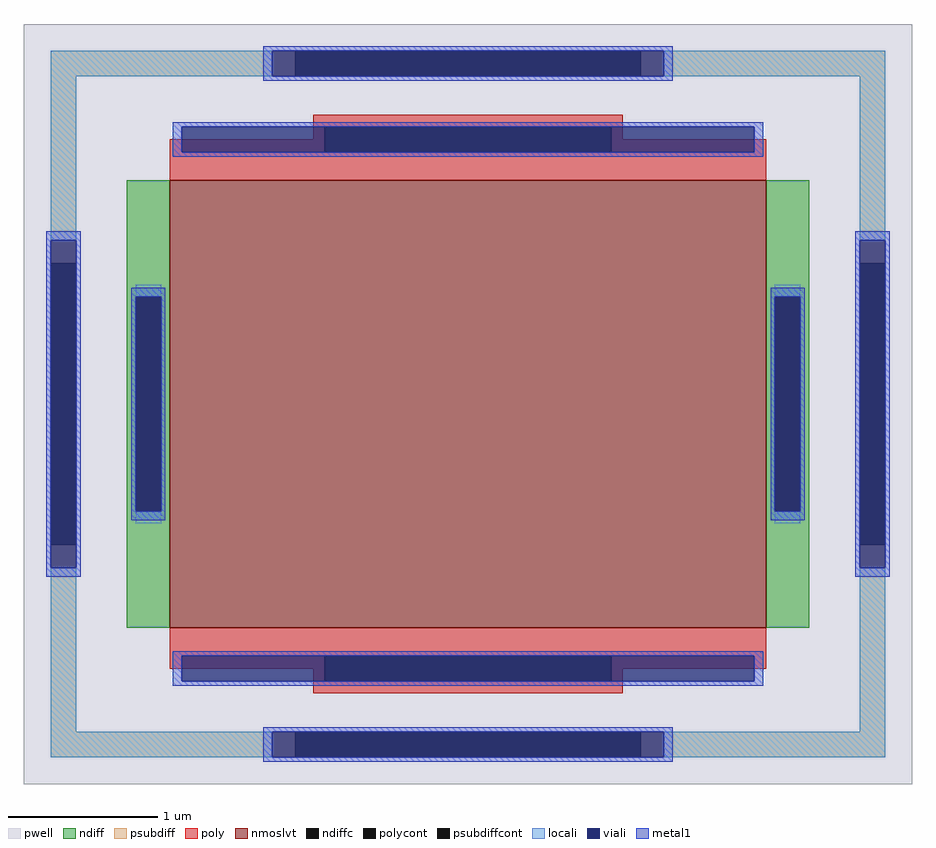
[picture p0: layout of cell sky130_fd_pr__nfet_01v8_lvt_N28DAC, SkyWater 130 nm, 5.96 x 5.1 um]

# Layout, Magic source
magic
tech sky130A
magscale 1 2
<< pwell >>
rect -596 -510 596 510
<< nmoslvt >>
rect -400 -300 400 300
<< ndiff >>
rect -458 144 -400 300
rect -458 -144 -446 144
rect -412 -144 -400 144
rect -458 -300 -400 -144
rect 400 144 458 300
rect 400 -144 412 144
rect 446 -144 458 144
rect 400 -300 458 -144
<< ndiffc >>
rect -446 -144 -412 144
rect 412 -144 446 144
<< psubdiff >>
rect -560 440 -232 474
rect 232 440 560 474
rect -560 189 -526 440
rect -560 -440 -526 -189
rect 526 189 560 440
rect 526 -440 560 -189
rect -560 -474 -232 -440
rect 232 -474 560 -440
<< psubdiffcont >>
rect -232 440 232 474
rect -560 -189 -526 189
rect 526 -189 560 189
rect -232 -474 232 -440
<< poly >>
rect -208 372 208 388
rect -208 355 -192 372
rect -400 338 -192 355
rect 192 355 208 372
rect 192 338 400 355
rect -400 300 400 338
rect -400 -338 400 -300
rect -400 -355 -192 -338
rect -208 -372 -192 -355
rect 192 -355 400 -338
rect 192 -372 208 -355
rect -208 -388 208 -372
<< polycont >>
rect -192 338 192 372
rect -192 -372 192 -338
<< locali >>
rect -560 440 -263 474
rect 263 440 560 474
rect -560 220 -526 440
rect 526 220 560 440
rect -446 144 -412 160
rect -446 -160 -412 -144
rect 412 144 446 160
rect 412 -160 446 -144
rect -560 -440 -526 -220
rect 526 -440 560 -220
rect -560 -474 -263 -440
rect 263 -474 560 -440
<< viali >>
rect -263 440 -232 474
rect -232 440 232 474
rect 232 440 263 474
rect -384 338 -192 372
rect -192 338 192 372
rect 192 338 384 372
rect -560 189 -526 220
rect -560 -189 -526 189
rect 526 189 560 220
rect -446 -144 -412 144
rect 412 -144 446 144
rect -560 -220 -526 -189
rect 526 -189 560 189
rect 526 -220 560 -189
rect -384 -372 -192 -338
rect -192 -372 192 -338
rect 192 -372 384 -338
rect -263 -474 -232 -440
rect -232 -474 232 -440
rect 232 -474 263 -440
<< metal1 >>
rect -275 474 275 480
rect -275 440 -263 474
rect 263 440 275 474
rect -275 434 275 440
rect -396 372 396 378
rect -396 338 -384 372
rect 384 338 396 372
rect -396 332 396 338
rect -566 220 -520 232
rect -566 -220 -560 220
rect -526 -220 -520 220
rect 520 220 566 232
rect -452 144 -406 156
rect -452 -144 -446 144
rect -412 -144 -406 144
rect -452 -156 -406 -144
rect 406 144 452 156
rect 406 -144 412 144
rect 446 -144 452 144
rect 406 -156 452 -144
rect -566 -232 -520 -220
rect 520 -220 526 220
rect 560 -220 566 220
rect 520 -232 566 -220
rect -396 -338 396 -332
rect -396 -372 -384 -338
rect 384 -372 396 -338
rect -396 -378 396 -372
rect -275 -440 275 -434
rect -275 -474 -263 -440
rect 263 -474 275 -440
rect -275 -480 275 -474
<< properties >>
string FIXED_BBOX -543 -457 543 457
string gencell sky130_fd_pr__nfet_01v8_lvt
string library sky130
string parameters w 3.0 l 4.0 m 1 nf 1 diffcov 50 polycov 50 guard 1 glc 1 grc 1 gtc 1 gbc 1 tbcov 50 rlcov 50 topc 1 botc 1 poverlap 0 doverlap 1 lmin 0.15 wmin 0.42 compatible {sky130_fd_pr__nfet_01v8 sky130_fd_pr__nfet_01v8_lvt  sky130_fd_bs_flash__special_sonosfet_star  sky130_fd_pr__nfet_g5v0d10v5 sky130_fd_pr__nfet_05v0_nvt  sky130_fd_pr__nfet_03v3_nvt} full_metal 1 viasrc 50 viadrn 50 viagate 100 viagb 50 viagr 50 viagl 50 viagt 50
<< end >>
